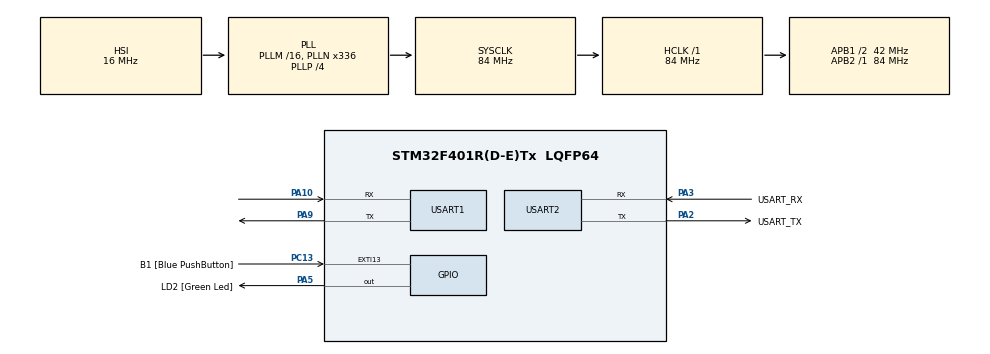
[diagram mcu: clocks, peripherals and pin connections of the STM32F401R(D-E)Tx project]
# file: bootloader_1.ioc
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Mcu.Family=STM32F4
Mcu.Name=STM32F401R(D-E)Tx
Mcu.Package=LQFP64
NVIC.PriorityGroup=NVIC_PRIORITYGROUP_4
PA10.Mode=Asynchronous
PA10.Signal=USART1_RX
PA13.GPIO_Label=TMS
PA13.Mode=Trace_Asynchronous_SW
PA13.Signal=SYS_JTMS-SWDIO
PA14.GPIO_Label=TCK
PA14.Mode=Trace_Asynchronous_SW
PA14.Signal=SYS_JTCK-SWCLK
PA2.GPIO_Label=USART_TX
PA2.GPIO_Mode=GPIO_MODE_AF_PP
PA2.GPIO_PuPd=GPIO_NOPULL
PA2.GPIO_Speed=GPIO_SPEED_FREQ_LOW
PA2.Mode=Asynchronous
PA2.Signal=USART2_TX
PA3.GPIO_Label=USART_RX
PA3.GPIO_Mode=GPIO_MODE_AF_PP
PA3.GPIO_PuPd=GPIO_NOPULL
PA3.GPIO_Speed=GPIO_SPEED_FREQ_LOW
PA3.Mode=Asynchronous
PA3.Signal=USART2_RX
PA5.GPIO_Label=LD2 [Green Led]
PA5.GPIO_Mode=GPIO_MODE_OUTPUT_PP
PA5.GPIO_PuPd=GPIO_NOPULL
PA5.GPIO_Speed=GPIO_SPEED_FREQ_LOW
PA5.Signal=GPIO_Output
PA9.Mode=Asynchronous
PA9.Signal=USART1_TX
PB3.GPIO_Label=SWO
PB3.Mode=Trace_Asynchronous_SW
PB3.Signal=SYS_JTDO-SWO
PC13-ANTI_TAMP.GPIO_Label=B1 [Blue PushButton]
PC13-ANTI_TAMP.GPIO_ModeDefaultEXTI=GPIO_MODE_IT_FALLING
PC13-ANTI_TAMP.GPIO_PuPd=GPIO_NOPULL
PC13-ANTI_TAMP.Signal=GPXTI13
PC14-OSC32_IN.Mode=LSE-External-Oscillator
PC14-OSC32_IN.Signal=RCC_OSC32_IN
PC15-OSC32_OUT.Mode=LSE-External-Oscillator
PC15-OSC32_OUT.Signal=RCC_OSC32_OUT
PH0\ -\ OSC_IN.Mode=HSE-External-Clock-Source
PH0\ -\ OSC_IN.Signal=RCC_OSC_IN
PH1\ -\ OSC_OUT.Mode=HSE-External-Clock-Source
PH1\ -\ OSC_OUT.Signal=RCC_OSC_OUT
ProjectManager.HeapSize=0x200
ProjectManager.StackSize=0x400
ProjectManager.TargetToolchain=STM32CubeIDE
RCC.48MHZClocksFreq_Value=48000000
RCC.AHBFreq_Value=84000000
RCC.APB1CLKDivider=RCC_HCLK_DIV2
RCC.APB1Freq_Value=42000000
RCC.APB1TimFreq_Value=84000000
RCC.APB2Freq_Value=84000000
RCC.APB2TimFreq_Value=84000000
RCC.CortexFreq_Value=84000000
RCC.HCLKFreq_Value=84000000
RCC.HSE_VALUE=8000000
RCC.HSI_VALUE=16000000
RCC.PLLN=336
RCC.PLLP=RCC_PLLP_DIV4
RCC.PLLQ=7
RCC.RCC_RTC_Clock_Source=RCC_RTCCLKSOURCE_LSE
RCC.RCC_RTC_Clock_SourceVirtual=RCC_RTCCLKSOURCE_LSE
RCC.SYSCLKFreq_VALUE=84000000
RCC.SYSCLKSource=RCC_SYSCLKSOURCE_PLLCLK
RCC.VCOOutputFreq_Value=336000000
USART1.VirtualMode=VM_ASYNC
USART2.VirtualMode=VM_ASYNC
VP_CRC_VS_CRC.Mode=CRC_Activate
board=NUCLEO-F401RE

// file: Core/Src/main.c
/* USER CODE BEGIN Header */
/**
  ******************************************************************************
  * @file           : main.c
  * @brief          : Main program body
  ******************************************************************************
  * @attention
  *
  * Copyright (c) 2025 STMicroelectronics.
  * All rights reserved.
  *
  * This software is licensed under terms that can be found in the LICENSE file
  * in the root directory of this software component.
  * If no LICENSE file comes with this software, it is provided AS-IS.
  *
  ******************************************************************************
  */
/* USER CODE END Header */
#include "main.h"

/* USER CODE BEGIN Includes */
#include "string.h"
/* USER CODE END Includes */

/* USER CODE BEGIN PTD */
typedef void(*ptrFunc)(void);
/* USER CODE END PTD */

/* USER CODE BEGIN PD */
/*
 We will actually be dividing our flash to 3 parts:
 bootloader space  0x08000000—0x08007FFF (32KB )
 application space 0x08008000-0x0803FFFF (224KB)
 update space      0x08040000-0x0807FFFF (256KB)
 */
#define CHUNK_SIZE 1024*15 //15KB
#define APPLICATION_ADRESS 0x08008000
#define UPDATE_SPACE_ADRESS 0x08040000
#define VALID_FIRMWARE_FLAG_ADRESS 0x0807FFF0
#define FIRMWARE_SIZE_ADRESS 0x0807FFFC
#define RECEIVED_CRC_ADRESS 0x0807FFF8

/* USER CODE END PD */

CRC_HandleTypeDef hcrc;

UART_HandleTypeDef huart1;
UART_HandleTypeDef huart2;

/* USER CODE BEGIN PV */
uint8_t buffer[CHUNK_SIZE];
/* USER CODE END PV */

void SystemClock_Config(void);
static void MX_GPIO_Init(void);
static void MX_USART2_UART_Init(void);
static void MX_CRC_Init(void);
static void MX_USART1_UART_Init(void);
/* USER CODE BEGIN PFP */
void ReceiveFirmawre(void);
uint8_t ValidateFirmware(void);
void WriteFirmware(void);
void JumpToApplication(void);
void CheckAndJumpIfFirmwareValid(void);
/* USER CODE END PFP */

/* USER CODE BEGIN 0 */

void ReceiveFirmawre(void){
	uint32_t firmwareSize;
	uint32_t firmwareCRC;
	if(HAL_UART_Receive(&huart1, &firmwareSize, sizeof(firmwareSize), 7000)!=HAL_OK)
	{HAL_UART_Transmit(&huart2, "NO CODE \n", strlen("NO CODE \n"), 10);
		JumpToApplication();}
	//firmwareSize *= 1024;
	if(HAL_UART_Receive(&huart1, &firmwareCRC, sizeof(firmwareCRC), 2000)!=HAL_OK)
		JumpToApplication();
	char debugMsg[50];
	int len = snprintf(debugMsg, sizeof(debugMsg), "Firmware size: %lu bytes\n", firmwareSize);
	HAL_UART_Transmit(&huart2, (uint8_t*)debugMsg, len, HAL_MAX_DELAY);

	if(HAL_UART_Receive(&huart1, buffer,firmwareSize,20000)!=HAL_OK)
		{HAL_UART_Transmit(&huart2, "NO FIRMWARE RECEIVED \n", strlen("NO FIRMWARE RECEIVED \n"), 100);
		JumpToApplication();}
	HAL_UART_Transmit(&huart2, " FIRMWARE RECEIVED \n", strlen(" FIRMWARE RECEIVED \n"), 100);
	FLASH_EraseInitTypeDef EraseStructure;
	uint32_t SectorError = 0;
	EraseStructure.Banks=FLASH_BANK_1;
	EraseStructure.NbSectors=2;
	EraseStructure.Sector=FLASH_SECTOR_6;
	EraseStructure.TypeErase=FLASH_TYPEERASE_SECTORS;
	EraseStructure.VoltageRange=FLASH_VOLTAGE_RANGE_3;
	HAL_FLASH_Unlock();
	if (HAL_FLASHEx_Erase(&EraseStructure, &SectorError) != HAL_OK) {
		HAL_FLASH_Lock();
		return;
	}
	for(uint32_t i=0 ; i<firmwareSize/4 ; i++){
		HAL_FLASH_Program(FLASH_TYPEPROGRAM_WORD,(uint32_t)(UPDATE_SPACE_ADRESS+ i*4),((uint32_t*)buffer)[i]);
	}
	uint8_t RemainingBytes = firmwareSize % 4;
	if(RemainingBytes>0)
	{
		uint32_t lastword=0xFFFFFFFF;
		memcpy(&lastword,buffer + firmwareSize - RemainingBytes,RemainingBytes);
		HAL_FLASH_Program(FLASH_TYPEPROGRAM_WORD, (uint32_t)UPDATE_SPACE_ADRESS+((firmwareSize/4)*4) , lastword);
	}
	HAL_FLASH_Program(FLASH_TYPEPROGRAM_WORD,(uint32_t)(FIRMWARE_SIZE_ADRESS),firmwareSize);
	HAL_FLASH_Program(FLASH_TYPEPROGRAM_WORD,(uint32_t)(RECEIVED_CRC_ADRESS),firmwareCRC);
	HAL_FLASH_Lock();
	HAL_UART_Transmit(&huart2, " FIRMWARE COPIED TO UPDATE \n", strlen(" FIRMWARE COPIED TO UPDATE \n"), 100);
}

uint8_t ValidateFirmware(void) {
    char msg[100];

    uint32_t firmwareSize = *((uint32_t*)FIRMWARE_SIZE_ADRESS);
  hcrc.Instance->CR |= CRC_CR_RESET;

    // Compute CRC over all full 32-bit words
    uint32_t CalculatedCRC = HAL_CRC_Calculate(&hcrc, (uint32_t*)UPDATE_SPACE_ADRESS, firmwareSize / 4);
    uint8_t RemainingBytes = firmwareSize % 4;
    if (RemainingBytes > 0) {
    	uint32_t lastWord = 0;
    	memcpy(&lastWord, (uint8_t*)(UPDATE_SPACE_ADRESS + firmwareSize - RemainingBytes), RemainingBytes);
    	CalculatedCRC = HAL_CRC_Accumulate(&hcrc, &lastWord, 1);
    }
    uint32_t ReceivedCRC = *((uint32_t*)RECEIVED_CRC_ADRESS);

    // Log CRCs
    snprintf(msg, sizeof(msg), "Calculated CRC: 0x%08lX, Received CRC: 0x%08lX\n", (unsigned long)CalculatedCRC, (unsigned long)ReceivedCRC);
    HAL_UART_Transmit(&huart2, (uint8_t*)msg, strlen(msg), 100);

    if (CalculatedCRC == ReceivedCRC) {
        HAL_UART_Transmit(&huart2, (uint8_t*)"FIRMWARE VALIDATED\n", strlen("FIRMWARE VALIDATED\n"), 100);
        return 1;
    } else {
        HAL_UART_Transmit(&huart2, (uint8_t*)"FIRMWARE VALIDATION FAILED\n", strlen("FIRMWARE VALIDATION FAILED\n"), 100);
        return 0;
    }
}

void WriteFirmware(void){
	if(!ValidateFirmware())
	{ JumpToApplication();
        return;}
	HAL_FLASH_Program(FLASH_TYPEPROGRAM_WORD, VALID_FIRMWARE_FLAG_ADRESS, 0xFFFFFFFF);
	FLASH_EraseInitTypeDef EraseStructure;
	uint32_t SectorError = 0;
	EraseStructure.Banks=FLASH_BANK_1;
	EraseStructure.NbSectors=4;
	EraseStructure.Sector=FLASH_SECTOR_2;
	EraseStructure.TypeErase=FLASH_TYPEERASE_SECTORS;
	EraseStructure.VoltageRange=FLASH_VOLTAGE_RANGE_3;
	HAL_FLASH_Unlock();
	if (HAL_FLASHEx_Erase(&EraseStructure, &SectorError) != HAL_OK) {
		HAL_FLASH_Lock();
		return;
	}
	uint32_t firmwareSize=*((uint32_t*)FIRMWARE_SIZE_ADRESS);
	for(uint32_t i=0 ; i<firmwareSize/4 ; i++){

		uint32_t writeAddr = APPLICATION_ADRESS + i * 4;
		uint32_t data = *((uint32_t*)(UPDATE_SPACE_ADRESS + i * 4));
		HAL_FLASH_Program(FLASH_TYPEPROGRAM_WORD, writeAddr, data);

	}
	uint8_t RemainingBytes = firmwareSize % 4;
	if(RemainingBytes>0)
	{
		uint32_t lastword=0xFFFFFFFF;
		memcpy(&lastword,  (uint8_t*)(UPDATE_SPACE_ADRESS + firmwareSize - RemainingBytes),RemainingBytes);
		HAL_FLASH_Program(FLASH_TYPEPROGRAM_WORD, (uint32_t)APPLICATION_ADRESS+((firmwareSize/4)*4) , lastword);
	}
	HAL_FLASH_Program(FLASH_TYPEPROGRAM_WORD, VALID_FIRMWARE_FLAG_ADRESS, 0x00000000);
	HAL_FLASH_Lock();
	HAL_UART_Transmit(&huart2, (uint8_t*)"FIRMWARE WRITING\n", strlen("FIRMWARE WRITING\n"), 100);

}

void JumpToApplication(void)
{
    //char msg[100];
	uint32_t MSP_Value = *((volatile uint32_t*)APPLICATION_ADRESS);
	uint32_t AppJump = *((volatile uint32_t*)(APPLICATION_ADRESS+4));
   // snprintf(msg, sizeof(msg), "MSP VALUE: %d", MSP_Value);
    //HAL_UART_Transmit(&huart2, (uint8_t*)msg, strlen(msg), 100);
	if ((MSP_Value >= 0x20000000) && (MSP_Value <= 0x2001FFFF))
	{
		HAL_UART_Transmit(&huart2, "JUMPING TO APP \n", strlen("JUMPING TO APP \n"), 10);
		HAL_DeInit();
		HAL_RCC_DeInit();

		HAL_Delay(10);             // Small delay to ensure completion
		__set_MSP(MSP_Value);

		ptrFunc Jump=(ptrFunc)AppJump;
		Jump();
	}
	//else
		//HAL_UART_Transmit(&huart2, "INVALID FIRMWARE \n", strlen("INVALID FIRMWARE \n"), 10);
}

void CheckAndJumpIfFirmwareValid(void)
{
    uint32_t flag = *((volatile uint32_t*)VALID_FIRMWARE_FLAG_ADRESS);

    if (flag == 0x00000000)
    {
        JumpToApplication();
    }
    else
    {
        HAL_UART_Transmit(&huart2, "INVALID FIRMWARE\r\n", strlen("INVALID FIRMWARE \n"), HAL_MAX_DELAY);

    }
}

/* USER CODE END 0 */

int main(void)
{

  /* MCU Configuration--------------------------------------------------------*/

  /* Reset of all peripherals, Initializes the Flash interface and the Systick. */
  HAL_Init();

  /* Configure the system clock */
  SystemClock_Config();

  /* Initialize all configured peripherals */
  MX_GPIO_Init();
  MX_USART2_UART_Init();
  MX_CRC_Init();
  MX_USART1_UART_Init();
  /* USER CODE BEGIN 2 */
  HAL_PWR_EnableBkUpAccess();
  if(RTC->BKP1R!=0xF07AF07A)
	  JumpToApplication();
  RTC->BKP1R=0xFFFFFFFF;//clear the flag
  ReceiveFirmawre();
  WriteFirmware();
  CheckAndJumpIfFirmwareValid();
  /* USER CODE END 2 */

  /* Infinite loop */
  while (1)
  {

  }
}

void SystemClock_Config(void)
{
  RCC_OscInitTypeDef RCC_OscInitStruct = {0};
  RCC_ClkInitTypeDef RCC_ClkInitStruct = {0};

  /** Configure the main internal regulator output voltage
  */
  __HAL_RCC_PWR_CLK_ENABLE();
  __HAL_PWR_VOLTAGESCALING_CONFIG(PWR_REGULATOR_VOLTAGE_SCALE2);

  /** Initializes the RCC Oscillators according to the specified parameters
  * in the RCC_OscInitTypeDef structure.
  */
  RCC_OscInitStruct.OscillatorType = RCC_OSCILLATORTYPE_HSI;
  RCC_OscInitStruct.HSIState = RCC_HSI_ON;
  RCC_OscInitStruct.HSICalibrationValue = RCC_HSICALIBRATION_DEFAULT;
  RCC_OscInitStruct.PLL.PLLState = RCC_PLL_ON;
  RCC_OscInitStruct.PLL.PLLSource = RCC_PLLSOURCE_HSI;
  RCC_OscInitStruct.PLL.PLLM = 16;
  RCC_OscInitStruct.PLL.PLLN = 336;
  RCC_OscInitStruct.PLL.PLLP = RCC_PLLP_DIV4;
  RCC_OscInitStruct.PLL.PLLQ = 7;
  if (HAL_RCC_OscConfig(&RCC_OscInitStruct) != HAL_OK)
  {
    Error_Handler();
  }

  /** Initializes the CPU, AHB and APB buses clocks
  */
  RCC_ClkInitStruct.ClockType = RCC_CLOCKTYPE_HCLK|RCC_CLOCKTYPE_SYSCLK
                              |RCC_CLOCKTYPE_PCLK1|RCC_CLOCKTYPE_PCLK2;
  RCC_ClkInitStruct.SYSCLKSource = RCC_SYSCLKSOURCE_PLLCLK;
  RCC_ClkInitStruct.AHBCLKDivider = RCC_SYSCLK_DIV1;
  RCC_ClkInitStruct.APB1CLKDivider = RCC_HCLK_DIV2;
  RCC_ClkInitStruct.APB2CLKDivider = RCC_HCLK_DIV1;

  if (HAL_RCC_ClockConfig(&RCC_ClkInitStruct, FLASH_LATENCY_2) != HAL_OK)
  {
    Error_Handler();
  }
}

static void MX_CRC_Init(void)
{

  hcrc.Instance = CRC;
  if (HAL_CRC_Init(&hcrc) != HAL_OK)
  {
    Error_Handler();
  }

}

static void MX_USART1_UART_Init(void)
{

  huart1.Instance = USART1;
  huart1.Init.BaudRate = 115200;
  huart1.Init.WordLength = UART_WORDLENGTH_8B;
  huart1.Init.StopBits = UART_STOPBITS_1;
  huart1.Init.Parity = UART_PARITY_NONE;
  huart1.Init.Mode = UART_MODE_TX_RX;
  huart1.Init.HwFlowCtl = UART_HWCONTROL_NONE;
  huart1.Init.OverSampling = UART_OVERSAMPLING_16;
  if (HAL_UART_Init(&huart1) != HAL_OK)
  {
    Error_Handler();
  }

}

static void MX_USART2_UART_Init(void)
{

  huart2.Instance = USART2;
  huart2.Init.BaudRate = 115200;
  huart2.Init.WordLength = UART_WORDLENGTH_8B;
  huart2.Init.StopBits = UART_STOPBITS_1;
  huart2.Init.Parity = UART_PARITY_NONE;
  huart2.Init.Mode = UART_MODE_TX_RX;
  huart2.Init.HwFlowCtl = UART_HWCONTROL_NONE;
  huart2.Init.OverSampling = UART_OVERSAMPLING_16;
  if (HAL_UART_Init(&huart2) != HAL_OK)
  {
    Error_Handler();
  }

}

static void MX_GPIO_Init(void)
{
  GPIO_InitTypeDef GPIO_InitStruct = {0};

  /* GPIO Ports Clock Enable */
  __HAL_RCC_GPIOC_CLK_ENABLE();
  __HAL_RCC_GPIOH_CLK_ENABLE();
  __HAL_RCC_GPIOA_CLK_ENABLE();
  __HAL_RCC_GPIOB_CLK_ENABLE();

  /*Configure GPIO pin Output Level */
  HAL_GPIO_WritePin(LD2_GPIO_Port, LD2_Pin, GPIO_PIN_RESET);

  /*Configure GPIO pin : B1_Pin */
  GPIO_InitStruct.Pin = B1_Pin;
  GPIO_InitStruct.Mode = GPIO_MODE_IT_FALLING;
  GPIO_InitStruct.Pull = GPIO_NOPULL;
  HAL_GPIO_Init(B1_GPIO_Port, &GPIO_InitStruct);

  /*Configure GPIO pin : LD2_Pin */
  GPIO_InitStruct.Pin = LD2_Pin;
  GPIO_InitStruct.Mode = GPIO_MODE_OUTPUT_PP;
  GPIO_InitStruct.Pull = GPIO_NOPULL;
  GPIO_InitStruct.Speed = GPIO_SPEED_FREQ_LOW;
  HAL_GPIO_Init(LD2_GPIO_Port, &GPIO_InitStruct);

}

void Error_Handler(void)
{
  __disable_irq();
  while (1)
  {
  }
}
